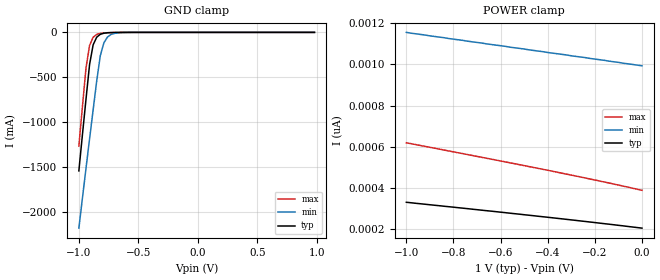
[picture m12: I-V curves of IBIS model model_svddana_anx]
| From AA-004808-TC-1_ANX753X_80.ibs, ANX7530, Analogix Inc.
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[Model]  model_svddana_anx
Model_type Input
Polarity   Non-Inverting
C_comp   2.3000pF   NA   NA
[Temperature Range]   27.0000   100.0000   0.0
[Voltage Range]   1.0000V   0.9000V   1.1000V
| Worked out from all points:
|   GND clamp passes 1 mA (typ) near -0.68 V on its own axis
[GND_clamp]
|Voltage   I(typ)   I(min)   I(max)
-1V       -1.546A    -2.185A    -1.27A
-940mV    -746.1mA   -1.518A    -398.9mA
-910mV    -359.6mA   -1.189A    -146mA
-880mV    -139.2mA   -864.9mA   -54.52mA
-850mV    -53.75mA   -543.7mA   -22.66mA
-820mV    -21.83mA   -261.3mA   -11.04mA
-790mV    -9.662mA   -117.8mA   -6.243mA
-760mV    -4.686mA   -52.7mA    -3.902mA
-730mV    -2.429mA   -23.81mA   -2.561mA
-700mV    -1.302mA   -10.98mA   -1.691mA
-610mV    -201.4uA   -1.219mA   -375.4uA
980mV     200.4pA    1.006nA    354.9pA
[POWER_clamp]
|Voltage   I(typ)   I(min)   I(max)
-1V       329.1pA    1.156nA    618.5pA
-980mV    326.7pA    1.152nA    614.2pA
-920mV    319.4pA    1.143nA    600.9pA
-660mV    288.1pA    1.1nA      543.5pA
-580mV    278.5pA    1.088nA    525.7pA
-560mV    275.9pA    1.084nA    521.1pA
-380mV    253.6pA    1.055nA    480.2pA
-200mV    230.3pA    1.026nA    437.6pA
0V        203.2pA    993.3pA    387.2pA
